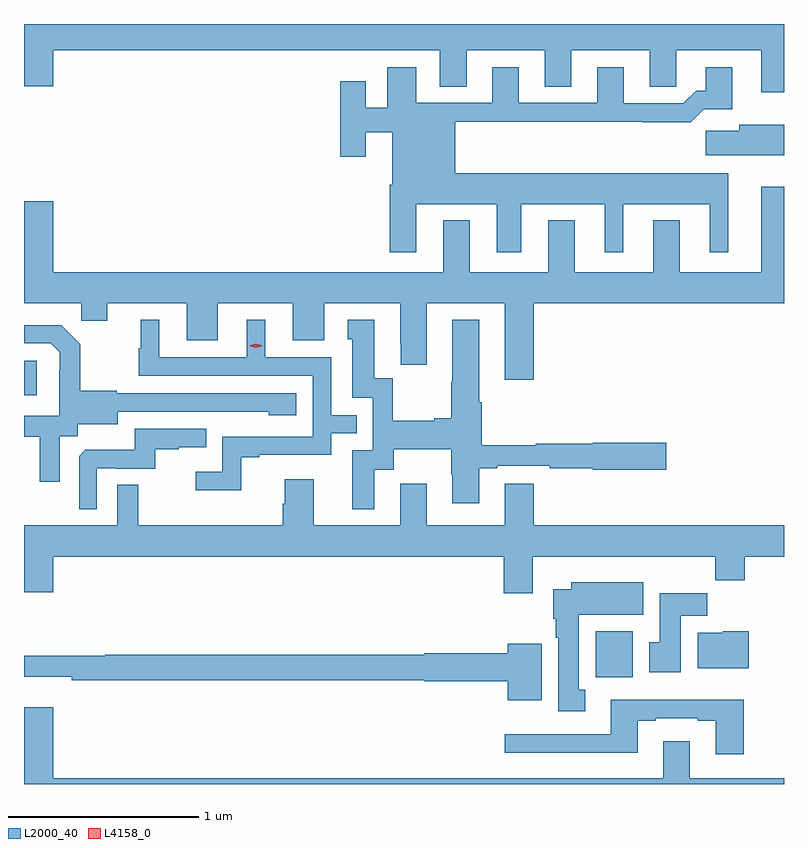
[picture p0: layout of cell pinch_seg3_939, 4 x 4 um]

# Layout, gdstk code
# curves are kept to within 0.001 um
import gdstk
lib = gdstk.Library(unit=1e-6, precision=1e-09)
def R(c, l, rs):  # rectangles x0, y0, x1, y1
    for r in rs: c.add(gdstk.rectangle(r[:2], r[2:], *l))
def P(c, l, *ps):  # polygons
    for p in ps: c.add(gdstk.Polygon(p, *l))
L2000_40 = (2000, 40)
L4158_0 = (4158, 0)

pinch_seg3_939 = lib.new_cell('pinch_seg3_939')
R(pinch_seg3_939, L2000_40, [(575.618,722.924,575.815,723.166), (572.61,724.41,572.677,724.59)])
P(pinch_seg3_939, L2000_40, [(572.61,726.036),(572.764,726.036),(572.764,726.224),(574.799,726.224),(574.799,726.034),(574.939,726.034),(574.939,726.224),(575.351,726.224),(575.351,726.034),(575.491,726.034),(575.491,726.224),(575.903,726.224),(575.903,726.034),(576.042,726.034),(576.042,726.224),(576.491,726.224),(576.491,726.003),(576.61,726.003),(576.61,726.363),(572.61,726.363)],
  [(574.675,725.414),(575.099,725.414),(575.099,725.163),(575.227,725.163),(575.227,725.414),(575.666,725.414),(575.666,725.163),(575.764,725.163),(575.764,725.414),(576.218,725.414),(576.218,725.163),(576.316,725.163),(576.316,725.578),(574.879,725.578),(574.879,725.848),(575.863,725.848),(575.863,725.846),(576.119,725.846),(576.188,725.915),(576.337,725.915),(576.337,726.136),(576.197,726.136),(576.197,726.013),(576.148,726.013),(576.081,725.946),(575.767,725.946),(575.767,726.136),(575.627,726.136),(575.627,725.949),(575.215,725.949),(575.215,726.136),(575.075,726.136),(575.075,725.949),(574.675,725.949),(574.675,726.136),(574.523,726.136),(574.523,725.923),(574.408,725.923),(574.408,726.061),(574.274,726.061),(574.274,725.664),(574.408,725.664),(574.408,725.794),(574.547,725.794),(574.547,725.518),(574.535,725.518),(574.535,725.163),(574.675,725.163)],
  [(576.61,725.833),(576.374,725.833),(576.374,725.801),(576.198,725.801),(576.198,725.672),(576.61,725.672)],
  [(575.294,724.892),(576.61,724.892),(576.61,725.506),(576.491,725.506),(576.491,725.056),(576.061,725.056),(576.061,725.329),(575.921,725.329),(575.921,725.056),(575.509,725.056),(575.509,725.329),(575.369,725.329),(575.369,725.056),(574.957,725.056),(574.957,725.329),(574.817,725.329),(574.817,725.056),(572.764,725.056),(572.764,725.431),(572.61,725.431),(572.61,724.892),(572.911,724.892),(572.911,724.802),(573.049,724.802),(573.049,724.892),(573.467,724.892),(573.467,724.698),(573.631,724.698),(573.631,724.892),(574.025,724.892),(574.025,724.698),(574.189,724.698),(574.189,724.892),(574.589,724.892),(574.589,724.681),(574.592,724.681),(574.592,724.569),(574.729,724.569),(574.729,724.892),(575.141,724.892),(575.141,724.491),(575.294,724.491)],
  [(574.453,724.018),(574.555,724.018),(574.555,724.124),(574.858,724.124),(574.858,723.99),(574.865,723.99),(574.865,723.84),(575.005,723.84),(575.005,724.026),(575.101,724.026),(575.101,724.038),(575.377,724.038),(575.377,724.026),(575.604,724.026),(575.604,724.018),(575.989,724.018),(575.989,724.16),(575.604,724.16),(575.604,724.154),(575.303,724.154),(575.303,724.147),(575.018,724.147),(575.018,724.372),(575.005,724.372),(575.005,724.807),(574.865,724.807),(574.865,724.481),(574.858,724.481),(574.858,724.289),(574.769,724.289),(574.769,724.276),(574.551,724.276),(574.551,724.499),(574.453,724.499),(574.453,724.807),(574.313,724.807),(574.313,724.704),(574.337,724.704),(574.337,724.395),(574.446,724.395),(574.446,724.119),(574.337,724.119),(574.337,723.81),(574.453,723.81)],
  [(573.753,724.083),(573.847,724.083),(573.847,724.095),(574.227,724.095),(574.227,724.209),(574.361,724.209),(574.361,724.305),(574.227,724.305),(574.227,724.608),(573.88,724.608),(573.88,724.807),(573.782,724.807),(573.782,724.608),(573.322,724.608),(573.322,724.807),(573.224,724.807),(573.224,724.656),(573.213,724.656),(573.213,724.512),(574.131,724.512),(574.131,724.191),(573.654,724.191),(573.654,724.006),(573.513,724.006),(573.513,723.908),(573.753,723.908)],
  [(572.797,724.192),(572.892,724.192),(572.892,724.256),(573.103,724.256),(573.103,724.323),(573.897,724.322),(573.897,724.304),(574.042,724.304),(574.042,724.419),(573.099,724.419),(573.099,724.432),(572.907,724.432),(572.907,724.677),(572.807,724.777),(572.61,724.777),(572.61,724.683),(572.751,724.683),(572.798,724.636),(572.798,724.541),(572.796,724.541),(572.796,724.3),(572.61,724.3),(572.61,724.19),(572.693,724.19),(572.693,723.954),(572.797,723.954)],
  [(572.994,724.026),(573.094,724.026),(573.094,724.023),(573.302,724.023),(573.302,724.125),(573.425,724.125),(573.425,724.136),(573.569,724.136),(573.569,724.233),(573.192,724.233),(573.192,724.121),(572.933,724.121),(572.901,724.089),(572.901,723.809),(572.994,723.809)],
  [(575.287,723.56),(576.247,723.56),(576.247,723.436),(576.404,723.436),(576.404,723.56),(576.61,723.56),(576.61,723.724),(575.294,723.724),(575.294,723.943),(575.141,723.943),(575.141,723.724),(574.729,723.724),(574.729,723.943),(574.589,723.943),(574.589,723.724),(574.135,723.724),(574.135,723.967),(573.983,723.967),(573.983,723.837),(573.971,723.837),(573.971,723.724),(573.211,723.724),(573.211,723.938),(573.102,723.938),(573.102,723.724),(572.61,723.724),(572.61,723.372),(572.764,723.372),(572.764,723.56),(575.135,723.56),(575.135,723.366),(575.287,723.366)],
  [(575.563,722.858),(575.53,722.858),(575.53,723.254),(575.869,723.254),(575.869,723.424),(575.489,723.424),(575.489,723.388),(575.396,723.388),(575.396,723.234),(575.408,723.234),(575.408,723.134),(575.423,723.134),(575.423,722.745),(575.563,722.745)],
  [(576.067,723.248),(576.206,723.248),(576.206,723.366),(575.957,723.366),(575.957,723.108),(575.9,723.108),(575.9,722.952),(576.067,722.952)],
  [(576.424,723.166),(576.288,723.166),(576.288,723.16),(576.155,723.16),(576.155,722.972),(576.424,722.972)],
  [(575.335,723.1),(575.156,723.1),(575.156,723.05),(574.716,723.05),(574.716,723.044),(573.038,723.044),(573.038,723.037),(572.61,723.037),(572.61,722.927),(572.86,722.927),(572.86,722.908),(574.716,722.908),(574.716,722.903),(575.156,722.903),(575.156,722.804),(575.335,722.804)],
  [(576.399,722.806),(575.699,722.806),(575.699,722.625),(575.139,722.625),(575.139,722.528),(575.839,722.528),(575.839,722.697),(575.935,722.697),(575.935,722.709),(576.155,722.709),(576.155,722.697),(576.251,722.697),(576.251,722.52),(576.399,722.52)],
  [(576.61,722.392),(576.115,722.392),(576.115,722.587),(575.975,722.587),(575.975,722.392),(572.764,722.392),(572.764,722.767),(572.61,722.767),(572.61,722.363),(576.61,722.363)])
P(pinch_seg3_939, L4158_0, [(573.831,724.659),(573.796,724.669),(573.795,724.669),(573.796,724.669),(573.831,724.679),(573.866,724.669),(573.867,724.669),(573.866,724.669)])

lib.write_gds('pinch_seg3_939.gds')
